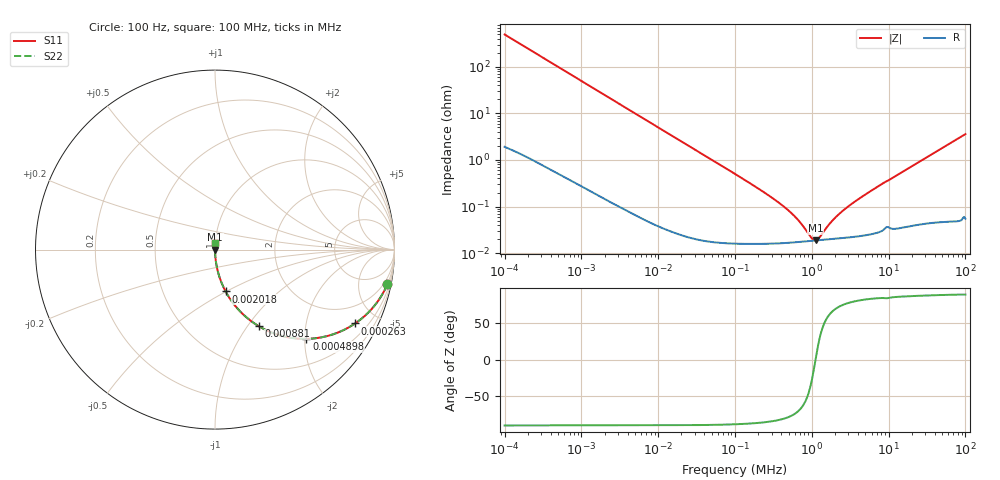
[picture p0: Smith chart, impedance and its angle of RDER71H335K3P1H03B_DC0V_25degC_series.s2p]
!Murata Part Number: RDER71H335K3P1H03B
!These Parameters are Measured in Series Mode Connection
!  o--ll--o
!Port1  Port2
!  o------o
!Operation Temp=25[degC], DC Bias Voltage=0[V]
!Freq. Start=100[Hz] Stop=100[MHz], 401[Steps]
!Data Generated on Jun 23, 2023
# Hz S RI R 50
!Freq.(Hz) S11(Real) S11(Imag) S21(Real) S21(Imag) S12(Real) S12(Imag) S22(Real) S22(Imag)
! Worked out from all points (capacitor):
!   401 points, 100 Hz to 100 MHz, reference 50 ohm
!   read as one part in series: C = 3.21 uF near 107.2 Hz
!   lowest |Z| = 18.7 mohm at 1.122 MHz (marker M1)
!   series resonance near 1.118 MHz, so ESL is about 6.3 nH
!   S11 on the Smith chart (normalised r, x): 100 Hz: 1.04, -9.92; 263 Hz: 1.02, -3.78; 489.8 Hz: 1.01, -2.04; 881 Hz: 1.01, -1.13; 2.018 kHz: 1.00, -0.50; 100 MHz: 1.00, +0.07
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100  0.9603 -0.1934  0.0397 0.1934  0.0397 0.1934  0.9603 -0.1934
167.8804  0.8965 -0.3024  0.1035 0.3024  0.1035 0.3024  0.8965 -0.3024
263.0268  0.7806 -0.4115  0.2194 0.4115  0.2194 0.4115  0.7806 -0.4115
489.7788  0.5089 -0.4974  0.4911 0.4974  0.4911 0.4974  0.5089 -0.4974
881.0489  0.2445 -0.4271  0.7555 0.4271  0.7555 0.4271  0.2445 -0.4271
1011.579  0.1976 -0.3954  0.8024 0.3954  0.8024 0.3954  0.1976 -0.3954
1380.384  0.1175 -0.3192  0.8825 0.3192  0.8825 0.3192  0.1175 -0.3192
2018.366  0.0592 -0.2332  0.9408 0.2332  0.9408 0.2332  0.0592 -0.2332
4168.694  0.015 -0.1186  0.985 0.1186  0.985 0.1186  0.015 -0.1186
10232.93  0.00278 -0.0491  0.9972 0.0491  0.9972 0.0491  0.00278 -0.0491
100000  0.000184 -0.00501  0.9998 0.00501  0.9998 0.00501  0.000184 -0.00501
254097.3  0.000162 -0.00188  0.9998 0.00188  0.9998 0.00188  0.000162 -0.00188
457088.2  0.000165 -0.000911  0.9998 0.000911  0.9998 0.000911  0.000165 -0.000911
668343.9  0.000173 -0.000477  0.9998 0.000477  0.9998 0.000477  0.000173 -0.000477
1011579  0.000184 -8.77e-05  0.9998 8.77e-05  0.9998 8.77e-05  0.000184 -8.77e-05
1122018  0.000187 3.25e-06  0.9998 -3.25e-06  0.9998 -3.25e-06  0.000187 3.25e-06
1244515  0.00019 9.37e-05  0.9998 -9.37e-05  0.9998 -9.37e-05  0.00019 9.37e-05
1883649  0.000202 0.000471  0.9998 -0.000471  0.9998 -0.000471  0.000202 0.000471
2660725  0.000213 0.00084  0.9998 -0.00084  0.9998 -0.00084  0.000213 0.00084
4786301  0.000241 0.00172  0.9998 -0.00172  0.9998 -0.00172  0.000241 0.00172
1.023293e7  0.000362 0.00373  0.9996 -0.00373  0.9996 -0.00373  0.000362 0.00373
1e8  0.00184 0.0359  0.9982 -0.0359  0.9982 -0.0359  0.00184 0.0359
